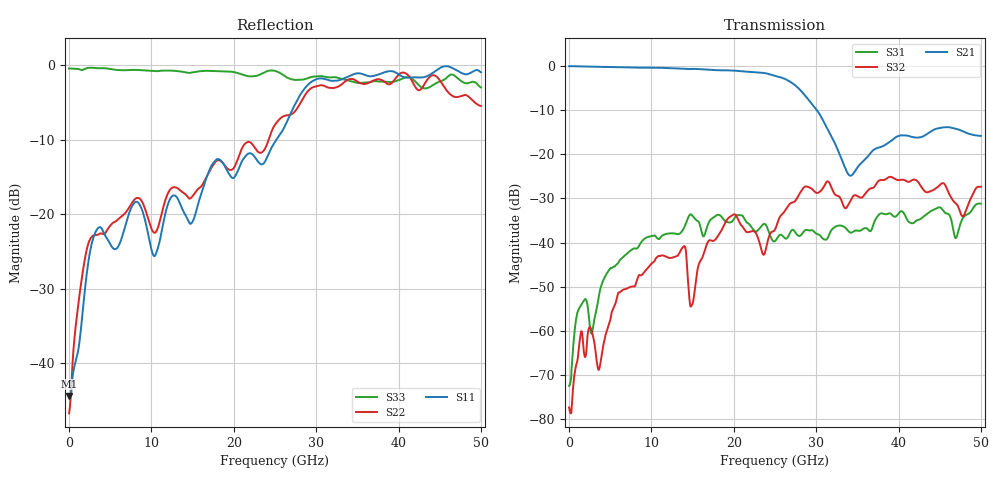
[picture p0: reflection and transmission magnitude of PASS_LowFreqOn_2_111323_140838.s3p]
!Keysight Technologies,N5225A,MY51451266,A.10.64.09
!Date: Monday, November 13, 2023 14:08:38
!Correction: S11(Full 3 Port(1,2,3))
!S12(Full 3 Port(1,2,3))
!S13(Full 3 Port(1,2,3))
!S21(Full 3 Port(1,2,3))
!S22(Full 3 Port(1,2,3))
!S23(Full 3 Port(1,2,3))
!S31(Full 3 Port(1,2,3))
!S32(Full 3 Port(1,2,3))
!S33(Full 3 Port(1,2,3))
!S3P File: Measurements: <S11,S12,S13>,
!<S21,S22,S23>,
!<S31,S32,S33>:
# Hz S  dB  R 50
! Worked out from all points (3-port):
!   5000 points, 10 MHz to 50 GHz, reference 50 ohm
!   strongest paths, dB at 10 MHz, 12.51 GHz, 25.01 GHz, 37.51 GHz, 50 GHz:
!     S21: 0.0, -0.5, -2.2, -18.5, -15.8
!     S32: -77.4, -43.4, -37.0, -26.1, -27.4
!     S31: -72.5, -37.9, -39.7, -33.9, -31.2
!   lowest |S11| = -44.4 dB at 20 MHz (marker M1), VSWR 1.01, Z = 50.6 + j0.111 ohm
!   |S11| at or under -10 dB: start of sweep to 25.18 GHz
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1e7  -44.38 9.3  -0.03 -0.9  -71.80 110.1
     -0.03 -0.9  -46.73 -9.2  -78.54 121.7
     -72.47 45.1  -77.37 34.8  -0.46 179.5
2e7  -44.39 10.5  -0.03 -1.0  -71.85 109.2
     -0.03 -1.0  -46.68 -7.0  -78.62 119.4
     -72.47 46.6  -77.38 48.8  -0.46 179.4
5.88e9  -24.49 -179.8  -0.25 -88.0  -44.82 45.9
        -0.25 -88.0  -20.78 -158.2  -51.95 121.8
        -44.82 45.9  -51.97 121.8  -0.66 119.5
1.162e10  -20.25 83.2  -0.44 -174.3  -38.13 -32.3
          -0.43 -174.4  -18.37 106.9  -43.05 24.8
          -38.14 -32.4  -43.05 24.9  -0.74 56.6
1.809e10  -12.61 -29.6  -0.96 84.1  -33.69 -113.7
          -0.96 84.0  -12.75 16.9  -38.47 -70.3
          -33.70 -113.7  -38.48 -70.2  -0.82 -10.3
2.501e10  -10.29 113.6  -2.23 -42.4  -39.65 117.3
          -2.23 -42.6  -7.99 -40.1  -37.02 -146.2
          -39.65 117.3  -37.03 -146.0  -0.78 -74.0
2.985e10  -1.98 -21.5  -9.44 -142.5  -37.74 -52.7
          -9.44 -142.7  -2.90 -124.2  -28.49 67.8
          -37.72 -52.9  -28.50 67.9  -1.53 -127.2
3.492e10  -1.12 -107.3  -23.24 -142.4  -37.27 174.3
          -23.24 -142.6  -2.15 127.5  -29.38 -23.2
          -37.27 174.3  -29.37 -23.2  -2.37 176.4
4.073e10  -1.65 171.2  -15.71 177.7  -33.57 95.0
          -15.70 177.4  -1.04 28.2  -25.83 -117.2
          -33.59 95.0  -25.85 -117.1  -1.69 106.6
5e10  -0.96 82.7  -15.79 49.9  -31.21 14.2
      -15.83 49.6  -5.49 -145.8  -27.40 85.4
      -31.18 14.0  -27.35 85.6  -3.00 21.5
